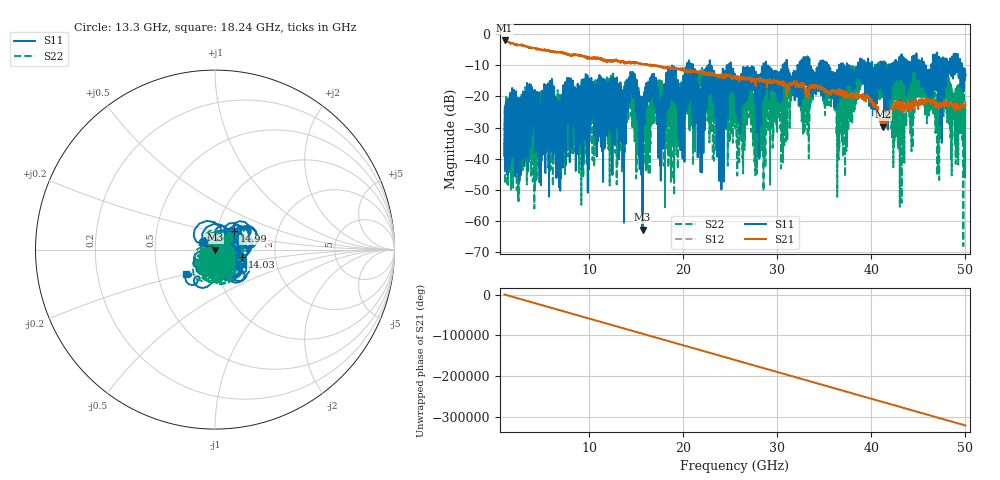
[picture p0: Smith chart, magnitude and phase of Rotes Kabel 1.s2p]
!Agilent Technologies,E8364B,US41440127,A.06.04.32
!Agilent E8364B: A.06.04.32
!Date: Tuesday, August 11, 2020 14:30:28
!Correction: S11(Off) S21(Off) S12(Off) S22(Off)
!S2P File: Measurements: S11, S21, S12, S22:
# Hz S  dB  R 50
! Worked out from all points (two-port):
!   16001 points, 1 GHz to 50 GHz, reference 50 ohm
!   highest |S21| = -1.99 dB at 1.003 GHz (marker M1); lowest = -29.7 dB at 41.21 GHz (marker M2)
!   |S21| within 3 dB of the highest: start of sweep to 4.867 GHz; 5.01 GHz to 5.111 GHz (100.3 MHz wide, 1.98 % of centre) (the widest 2 of 6)
!   lowest |S11| = -62.9 dB at 15.67 GHz (marker M3), VSWR 1.00, Z = 49.9 - j0.0372 ohm
!   |S11| at or under -10 dB: start of sweep to 20.42 GHz; 22.83 GHz to 24.61 GHz (1.785 GHz wide, 7.53 % of centre); 25.04 GHz to 28.53 GHz (3.495 GHz wide, 13 % of centre) (the widest 3 of 107)
!   |S22| runs from -68.1 to -8.7 dB; largest |S21 - S12| = 1.1
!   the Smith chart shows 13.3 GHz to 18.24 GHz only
!   S11 on the Smith chart (normalised r, x): 13.3 GHz: 0.88, +0.08; 14.03 GHz: 1.36, -0.11; 14.99 GHz: 1.21, +0.25; 18.24 GHz: 0.70, -0.20
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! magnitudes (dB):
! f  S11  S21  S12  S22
! 1 GHz  -34.9  -2.0  -2.3  -28.7
! 1.003 GHz  -34.8  -2.0  -2.3  -32.7
! 3.606 GHz  -16.3  -4.2  -4.1  -21.2
! 6.727 GHz  -30.1  -5.7  -5.7  -30.5
! 9.168 GHz  -22.9  -6.9  -7.0  -22.6
! 13.3 GHz  -22.1  -8.7  -8.6  -20.3
! 14.03 GHz  -16.0  -9.1  -9.0  -19.3
! 14.99 GHz  -16.6  -9.1  -9.2  -22.9
! 15.67 GHz  -62.9  -9.5  -9.6  -24.5
! 16.67 GHz  -13.2  -10.0  -10.2  -21.7
! 17.34 GHz  -25.2  -10.1  -10.5  -14.9
! 18.24 GHz  -13.5  -10.8  -10.8  -31.7
! 19.71 GHz  -29.1  -11.1  -11.4  -18.9
! 20.62 GHz  -8.5  -12.2  -11.9  -28.2
! 21.74 GHz  -18.8  -12.4  -12.1  -12.2
! 22.81 GHz  -8.3  -13.4  -13.4  -13.5
! 25.5 GHz  -13.1  -13.9  -14.3  -12.2
! 27.63 GHz  -17.7  -15.0  -14.9  -31.6
! 33.67 GHz  -14.6  -17.3  -16.9  -16.2
! 41.21 GHz  -10.2  -29.7  -30.5  -9.3
! 41.84 GHz  -15.4  -26.7  -26.5  -11.8
! 50 GHz  -12.9  -23.1  -23.1  -21.6
